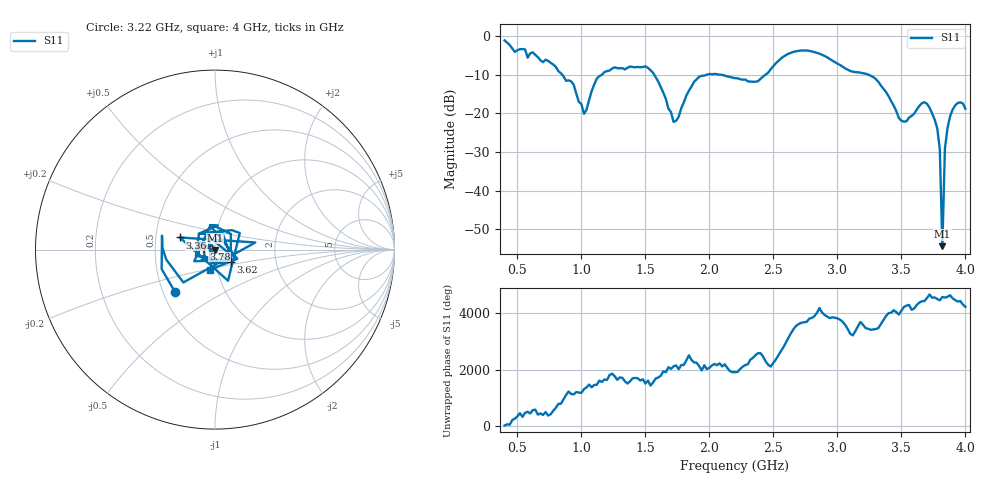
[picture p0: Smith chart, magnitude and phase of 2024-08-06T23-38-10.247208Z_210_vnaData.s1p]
!Created with skrf (http://scikit-rf.org).
# Hz S RI R 50.0
!freq ReS11 ImS11
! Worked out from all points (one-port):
!   181 points, 400 MHz to 4 GHz, reference 50 ohm
!   lowest |S11| = -54.3 dB at 3.82 GHz (marker M1), VSWR 1.00, Z = 49.9 - j0.175 ohm
!   |S11| at or under -10 dB: 1.568 GHz to 1.983 GHz (414.9 MHz wide, 23.4 % of centre); 2.074 GHz to 2.439 GHz (364.9 MHz wide, 16.2 % of centre); 3.24 GHz to end of sweep (the widest 3 of 4)
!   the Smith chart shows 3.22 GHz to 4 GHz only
!   S11 on the Smith chart (normalised r, x): 3.22 GHz: 0.58, -0.30; 3.36 GHz: 0.67, +0.09; 3.62 GHz: 1.18, -0.16; 3.78 GHz: 0.88, +0.01; 4 GHz: 0.93, -0.21
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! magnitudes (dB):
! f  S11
! 400 MHz  -1.2
! 860 MHz  -10.4
! 940 MHz  -12.6
! 1.02 GHz  -20.1
! 1.12 GHz  -11.1
! 1.3 GHz  -8.4
! 1.52 GHz  -8.3
! 1.6 GHz  -11.8
! 1.72 GHz  -22.2
! 1.76 GHz  -20.9
! 1.92 GHz  -10.6
! 2.2 GHz  -10.9
! 2.38 GHz  -11.7
! 2.66 GHz  -4.1
! 3.1 GHz  -9.1
! 3.22 GHz  -9.8
! 3.36 GHz  -13.7
! 3.5 GHz  -21.9
! 3.56 GHz  -21.1
! 3.62 GHz  -19.1
! 3.7 GHz  -17.5
! 3.78 GHz  -23.8
! 3.8 GHz  -29.3
! 3.82 GHz  -54.3
! 3.84 GHz  -29.1
! 3.86 GHz  -23.9
! 3.92 GHz  -18.0
! 4 GHz  -18.8
